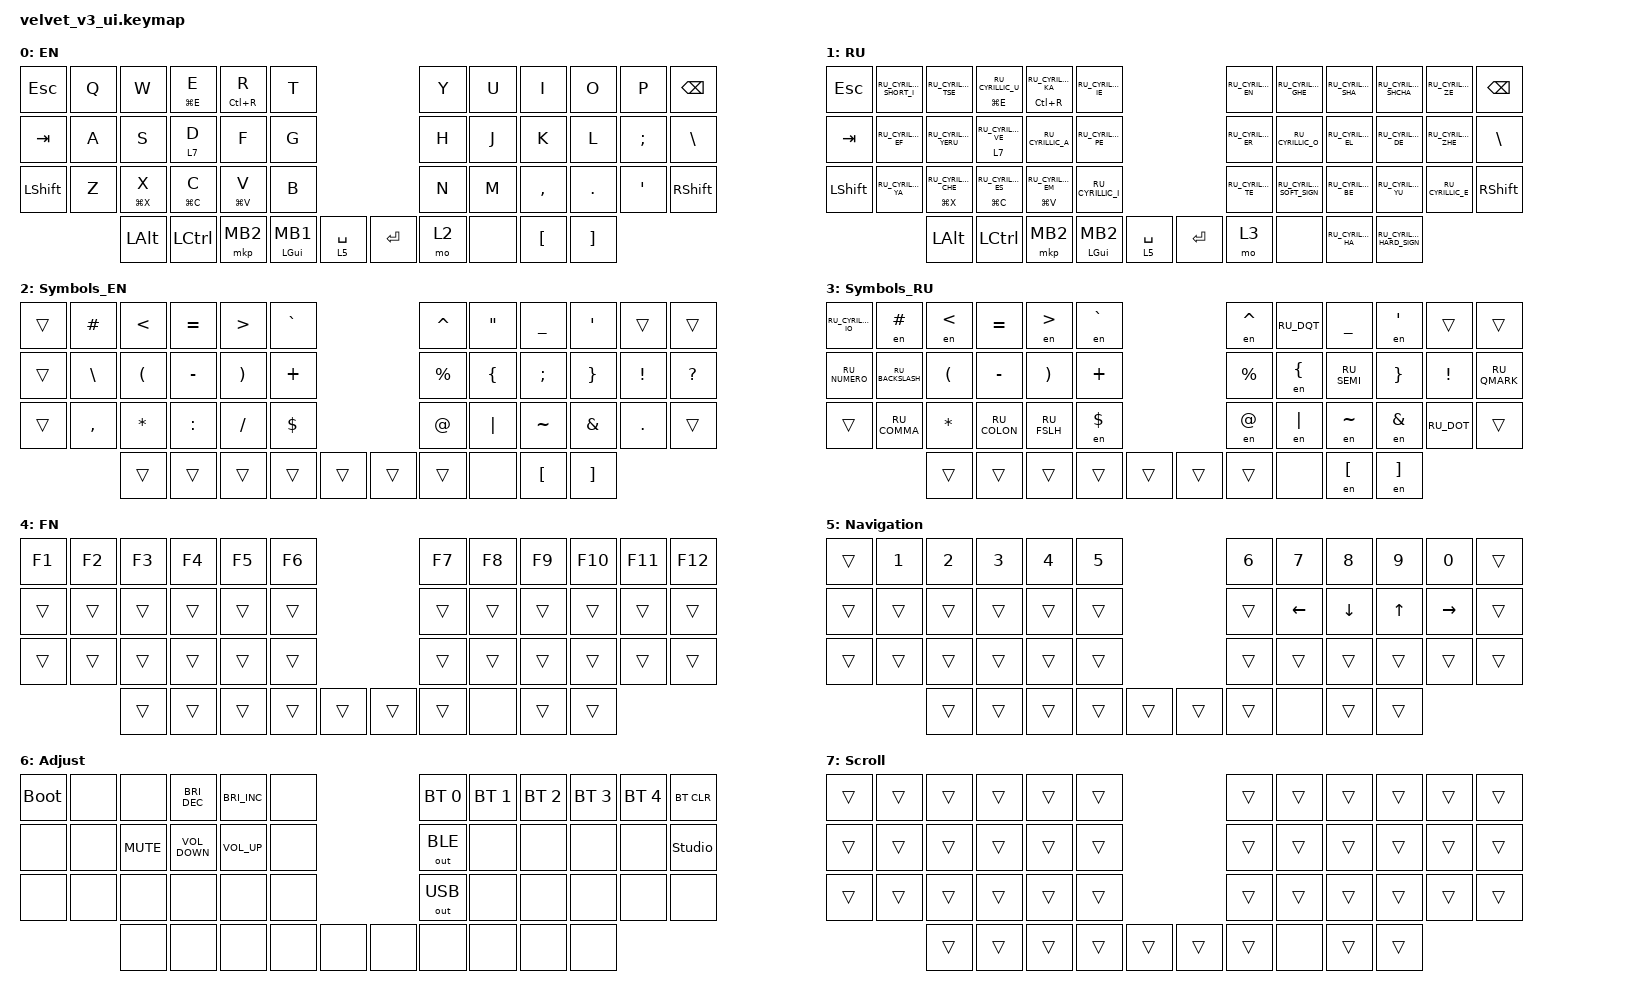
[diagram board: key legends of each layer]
#include "keys_ru.h"
#include <dt-bindings/zmk/input_transform.h>
#include <input/processors.dtsi>
#include <zephyr/dt-bindings/input/input-event-codes.h>
#include <behaviors.dtsi>
#include <dt-bindings/zmk/bt.h>
#include <dt-bindings/zmk/keys.h>
#include <dt-bindings/zmk/outputs.h>
#include <dt-bindings/zmk/pointing.h>

/ {
    behaviors {
        cap_sen: cap_sen {
            compatible = "zmk,behavior-hold-tap";
            label = "CAP_SEN";
            bindings = <&mo>, <&none>;

            #binding-cells = <2>;
            tapping-term-ms = <150>;
            hold-while-undecided;
        };

        hml: hml {
            compatible = "zmk,behavior-hold-tap";
            label = "HML";
            bindings = <&kp>, <&kp>;

            #binding-cells = <2>;
            tapping-term-ms = <280>;
            quick-tap-ms = <175>;
            require-prior-idle-ms = <150>;
            flavor = "balanced";
            hold-trigger-on-release;
            hold-trigger-key-positions = <26 28 27 4 3>;
        };

        mkpkp: mkpkp {
            compatible = "zmk,behavior-hold-tap";
            label = "Mouse Key Press/Key Press";
            bindings = <&kp>, <&mkp>;

            #binding-cells = <2>;
            tapping-term-ms = <280>;
            quick-tap-ms = <175>;
            require-prior-idle-ms = <150>;
            flavor = "balanced";
            hold-trigger-on-release;
            hold-trigger-key-positions = <38 39>;
        };
    };

    macros {
        to_en: to_en {
            compatible = "zmk,behavior-macro";
            #binding-cells = <0>;
            bindings = <&kp LS(LC(N1))>;
            label = "TO_EN";
        };

        to_ru: to_ru {
            compatible = "zmk,behavior-macro";
            #binding-cells = <0>;
            bindings = <&kp LS(LC(N2))>;
            label = "TO_RU";
        };

        layer_en: layer_en {
            compatible = "zmk,behavior-macro";
            #binding-cells = <0>;
            bindings = <&to 0 &to_en>;
            label = "LAYER_EN";
        };

        layer_ru: layer_ru {
            compatible = "zmk,behavior-macro";
            #binding-cells = <0>;
            bindings = <&to 1 &to_ru>;
            label = "LAYER_RU";
        };

        en: en {
            compatible = "zmk,behavior-macro-one-param";
            #binding-cells = <1>;
            bindings =
                <&to_en &macro_param_1to1 &kp MACRO_PLACEHOLDER>,
                <&macro_wait_time 10>,
                <&to_ru>,
                <&macro_wait_time 10>;

            label = "EN";
        };
    };

    combos {
        compatible = "zmk,combos";

        cmben {
            bindings = <&layer_en>;
            key-positions = <7 8>;
        };

        cmbru {
            bindings = <&layer_ru>;
            key-positions = <7 8>;
        };
    };

    keymap {
        compatible = "zmk,keymap";

        EN {
            bindings = <
&kp ESC    &kp Q  &kp W         &hml LG(E) E  &hml LC(R) R  &kp T                                    &kp Y  &kp U  &kp I      &kp O     &kp P     &kp BSPC
&kp TAB    &kp A  &kp S         &lt 7 D       &kp F         &kp G                                    &kp H  &kp J  &kp K      &kp L     &kp SEMI  &kp BSLH
&kp LSHFT  &kp Z  &hml LG(X) X  &hml LG(C) C  &hml LG(V) V  &kp B                                    &kp N  &kp M  &kp COMMA  &kp DOT   &kp SQT   &kp RSHFT
                  &kp LALT      &kp LCTRL     &mkp MB2      &mkpkp LGUI MB1  &lt 5 SPACE    &kp RET  &mo 2  &none  &kp LBKT   &kp RBKT
            >;

            label = "EN";
        };

        RU {
            bindings = <
&kp ESC    &kp RU_CYRILLIC_SHORT_I  &kp RU_CYRILLIC_TSE         &hml LG(E) RU_CYRILLIC_U   &hml LC(R) RU_CYRILLIC_KA  &kp RU_CYRILLIC_IE                          &kp RU_CYRILLIC_EN  &kp RU_CYRILLIC_GHE        &kp RU_CYRILLIC_SHA  &kp RU_CYRILLIC_SHCHA      &kp RU_CYRILLIC_ZE   &kp BSPC
&kp TAB    &kp RU_CYRILLIC_EF       &kp RU_CYRILLIC_YERU        &lt 7 RU_CYRILLIC_VE       &kp RU_CYRILLIC_A          &kp RU_CYRILLIC_PE                          &kp RU_CYRILLIC_ER  &kp RU_CYRILLIC_O          &kp RU_CYRILLIC_EL   &kp RU_CYRILLIC_DE         &kp RU_CYRILLIC_ZHE  &kp BSLH
&kp LSHFT  &kp RU_CYRILLIC_YA       &hml LG(X) RU_CYRILLIC_CHE  &hml LG(C) RU_CYRILLIC_ES  &hml LG(V) RU_CYRILLIC_EM  &kp RU_CYRILLIC_I                           &kp RU_CYRILLIC_TE  &kp RU_CYRILLIC_SOFT_SIGN  &kp RU_CYRILLIC_BE   &kp RU_CYRILLIC_YU         &kp RU_CYRILLIC_E    &kp RSHFT
                                    &kp LALT                    &kp LCTRL                  &mkp MB2                   &mkpkp LGUI MB2     &lt 5 SPACE    &kp RET  &mo 3               &none                      &kp RU_CYRILLIC_HA   &kp RU_CYRILLIC_HARD_SIGN
            >;

            label = "RU";
        };

        Symbols_EN {
            bindings = <
&trans  &kp HASH   &kp LT    &kp EQUAL  &kp GT    &kp GRAVE                    &kp CARET  &kp DQT   &kp UNDER  &kp SQT   &trans    &trans
&trans  &kp BSLH   &kp LPAR  &kp MINUS  &kp RPAR  &kp PLUS                     &kp PRCNT  &kp LBRC  &kp SEMI   &kp RBRC  &kp EXCL  &kp QUESTION
&trans  &kp COMMA  &kp STAR  &kp COLON  &kp FSLH  &kp DLLR                     &kp AT     &kp PIPE  &kp TILDE  &kp AMPS  &kp DOT   &trans
                   &trans    &trans     &trans    &trans     &trans    &trans  &trans     &none     &kp LBKT   &kp RBKT
            >;

            label = "Symbols_EN";
        };

        Symbols_RU {
            bindings = <
&kp RU_CYRILLIC_IO  &en HASH          &en LT    &kp EQUAL     &en GT       &en GRAVE                    &en CARET  &kp RU_DQT  &kp UNDER    &en SQT   &trans      &trans
&kp RU_NUMERO       &kp RU_BACKSLASH  &kp LPAR  &kp MINUS     &kp RPAR     &kp PLUS                     &kp PRCNT  &en LBRC    &kp RU_SEMI  &kp RBRC  &kp EXCL    &kp RU_QMARK
&trans              &kp RU_COMMA      &kp STAR  &kp RU_COLON  &kp RU_FSLH  &en DLLR                     &en AT     &en PIPE    &en TILDE    &en AMPS  &kp RU_DOT  &trans
                                      &trans    &trans        &trans       &trans     &trans    &trans  &trans     &none       &en LBKT     &en RBKT
            >;

            label = "Symbols_RU";
        };

        FN {
            bindings = <
&kp F1  &kp F2  &kp F3  &kp F4  &kp F5  &kp F6                    &kp F7  &kp F8  &kp F9  &kp F10  &kp F11  &kp F12
&trans  &trans  &trans  &trans  &trans  &trans                    &trans  &trans  &trans  &trans   &trans   &trans
&trans  &trans  &trans  &trans  &trans  &trans                    &trans  &trans  &trans  &trans   &trans   &trans
                &trans  &trans  &trans  &trans  &trans    &trans  &trans  &none   &trans  &trans
            >;

            label = "FN";
        };

        Navigation {
            bindings = <
&trans  &kp N1  &kp N2  &kp N3  &kp N4  &kp N5                    &kp N6  &kp N7    &kp N8    &kp N9  &kp N0     &trans
&trans  &trans  &trans  &trans  &trans  &trans                    &trans  &kp LEFT  &kp DOWN  &kp UP  &kp RIGHT  &trans
&trans  &trans  &trans  &trans  &trans  &trans                    &trans  &trans    &trans    &trans  &trans     &trans
                &trans  &trans  &trans  &trans  &trans    &trans  &trans  &none     &trans    &trans
            >;

            label = "Navigation";
        };

        Adjust {
            bindings = <
&bootloader  &none  &none       &kp C_BRIGHTNESS_DEC  &kp C_BRIGHTNESS_INC  &none                  &bt BT_SEL 0  &bt BT_SEL 1  &bt BT_SEL 2  &bt BT_SEL 3  &bt BT_SEL 4  &bt BT_CLR
&none        &none  &kp C_MUTE  &kp C_VOLUME_DOWN     &kp C_VOLUME_UP       &none                  &out OUT_BLE  &none         &none         &none         &none         &studio_unlock
&none        &none  &none       &none                 &none                 &none                  &out OUT_USB  &none         &none         &none         &none         &none
                    &none       &none                 &none                 &none  &none    &none  &none         &none         &none         &none
            >;

            display-name = "Adjust";
        };

        Scroll {
            bindings = <
&trans  &trans  &trans  &trans  &trans  &trans                    &trans  &trans  &trans  &trans  &trans  &trans
&trans  &trans  &trans  &trans  &trans  &trans                    &trans  &trans  &trans  &trans  &trans  &trans
&trans  &trans  &trans  &trans  &trans  &trans                    &trans  &trans  &trans  &trans  &trans  &trans
                &trans  &trans  &trans  &trans  &trans    &trans  &trans  &none   &trans  &trans
            >;

            label = "Scroll";
        };
    };

    conditional_layers { compatible = "zmk,conditional-layers"; };
};

&trackball { cpi = <1200>; };

&trackball_listener {
    input-processors = <&zip_xy_scaler 9 20>;

    scroller {
        layers = <7>;
        input-processors =
            <&zip_xy_transform INPUT_TRANSFORM_Y_INVERT>,
            <&zip_xy_scaler 1 32>,
            <&zip_xy_to_scroll_mapper>;
    };
};
